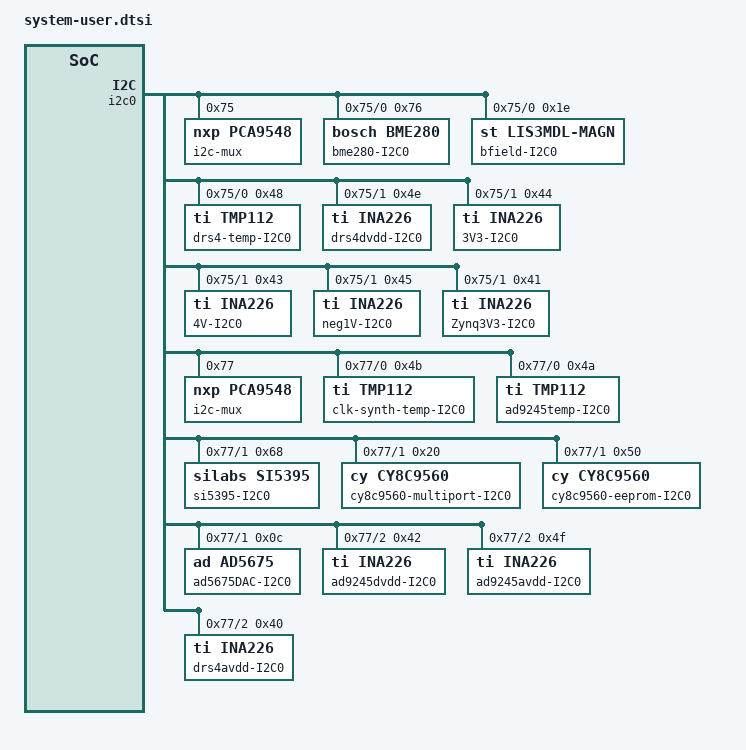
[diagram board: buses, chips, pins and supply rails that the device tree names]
/include/ "system-conf.dtsi"
/ {
    i2c0 { /* PS I2C bus is i2c0 */
        i2c-mux@75 {
            compatible = "nxp,pca9548"; /* U40 PCA9548ABS,118*/
            #address-cells = <1>;
            #size-cells = <0>;
            reg = <0x75>;
            i2csw1_env: i2c@0 {
                #address-cells = <1>;
                #size-cells = <0>;
                reg = <0>;
                label = "U40-env";
                bme280@76 { /* U34 Env sense */
                    compatible = "bosch,bme280";
                    reg = <0x76>;
                    label = "bme280-I2C0";
                };
                lis3mdl@1e { /* U32 B-field sense */
                    compatible = "st,lis3mdl-magn";
                    reg = <0x1e>;
                    label = "bfield-I2C0";
                };
                tmp112@48 { /* U20 DRS4 temp */
                    compatible = "ti,tmp112";
                    reg = <0x48>;
                    label = "drs4-temp-I2C0";
                };
            };
            i2csw1_pwr: i2c@1 {
                #address-cells = <1>;
                #size-cells = <0>;
                reg = <1>;
                label = "U40-pwr";
                ina226@4e { /* U19 DRS4 digital rail */
                    compatible = "ti,ina226";
                    reg = <0x4e>;
                    label = "drs4dvdd-I2C0";
                };
                ina226@44 { /* U29 3V3 rail */
                    compatible = "ti,ina226";
                    reg = <0x44>;
                    label = "3V3-I2C0";
                };
                ina226@43 { /* U30 4V rail */
                    compatible = "ti,ina226";
                    reg = <0x43>;
                    label = "4V-I2C0";
                };
                ina226@45 { /* U31 -1V rail */
                    compatible = "ti,ina226";
                    reg = <0x45>;
                    label = "neg1V-I2C0";
                };
                ina226@41 { /* U30 Zynq 3V3 rail */
                    compatible = "ti,ina226";
                    reg = <0x41>;
                    label = "Zynq3V3-I2C0";
                };
            };
        };
        i2c-mux@77 {
            compatible = "nxp,pca9548"; /* U39 PCA9548ABS,118*/
            #address-cells = <1>;
            #size-cells = <0>;
            reg = <0x77>;
            i2csw2_env: i2c@0 { 
                #address-cells = <1>;
                #size-cells = <0>;
                reg = <0>;
                label = "U39-env";
                tmp112@4b { /* U33 Si5395 temp */
                    compatible = "ti,tmp112";
                    reg = <0x4b>;
                    label = "clk-synth-temp-I2C0";
                };
                tmp112@4a { /* U22 ADC temp */
                    compatible = "ti,tmp112";
                    reg = <0x4a>;
                    label = "ad9245temp-I2C0";
                };
            };
            i2csw2_ctl: i2c@1 { 
                #address-cells = <1>;
                #size-cells = <0>;
                reg = <1>;
                label = "U39-ctl";
                si5395@68 { /* U34 Clock synth comms */
                    compatible = "silabs,si5395";
                    reg = <0x68>;
                    label = "si5395-I2C0";
                };
                cy8c9560@20 { /* U16 GPIO mux multiport, unsure if this will work */
                    compatible = "cy,cy8c9560";
                    reg = <0x20>;
                    label = "cy8c9560-multiport-I2C0";
                };
                cy8c9560@50 { /* U16 GPIO mux eeprom, unsure if this will work */
                    compatible = "cy,cy8c9560";
                    reg = <0x50>;
                    label = "cy8c9560-eeprom-I2C0";
                };
                ad5675@0c { /* U37 VCAL DAC unsure if this will work */
                    compatible = "ad,ad5675";
                    reg = <0x0c>;
                    label = "ad5675DAC-I2C0";
                };
            };
            i2csw2_pwr: i2c@2 { 
                #address-cells = <1>;
                #size-cells = <0>;
                reg = <2>;
                label = "U39-pwr";
                ina226@42 { /* U24 AD9245 digital */
                    compatible = "ti,ina226";
                    reg = <0x42>;
                    label = "ad9245dvdd-I2C0";
                };
                ina226@4f { /* U23 ADC analog rail */
                    compatible = "ti,ina226";
                    reg = <0x4f>;
                    label = "ad9245avdd-I2C0";
                };
                ina226@40 { /* U18 DRS analog rail */
                    compatible = "ti,ina226";
                    reg = <0x40>;
                    label = "drs4avdd-I2C0";
                };
            };
        };
    };
    aliases {
        i2c1 = "/amba/i2c@e0004000/i2c-mux@77/i2c@0";
        i2c2 = "/amba/i2c@e0004000/i2c-mux@77/i2c@1";
        i2c3 = "/amba/i2c@e0004000/i2c-mux@77/i2c@2";
        i2c4 = "/amba/i2c@e0004000/i2c-mux@75/i2c@0";
        i2c5 = "/amba/i2c@e0004000/i2c-mux@75/i2c@1";
    };

    /* SD0 with level shifter */
    sdhci0 {
        no-1-8-v;
        disable-wp;
    };
};
